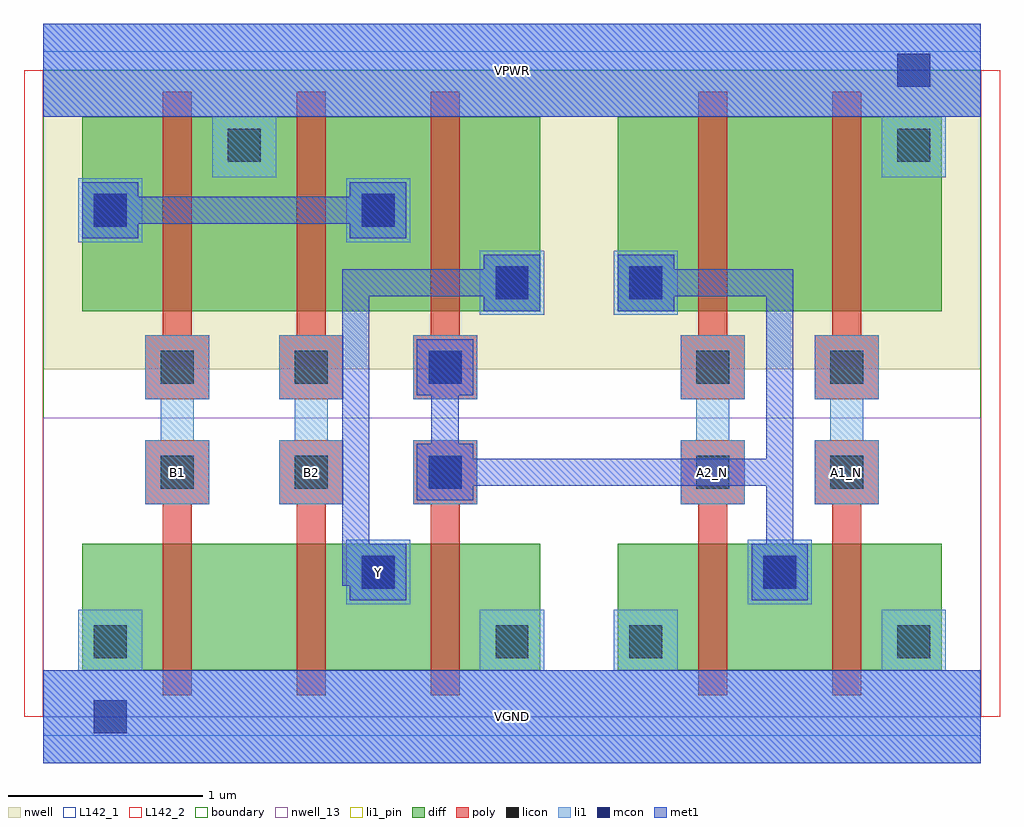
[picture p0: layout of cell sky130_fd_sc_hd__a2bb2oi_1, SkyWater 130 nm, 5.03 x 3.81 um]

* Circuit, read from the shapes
.subckt sky130_fd_sc_hd__a2bb2oi_1 A1_N A2_N B1 B2 VGND VPWR Y
XM1 n1 B1 VGND VSUBS sky130_fd_pr__nfet_01v8 w=0.65 l=0.15
XM2 Y B2 n1 VSUBS sky130_fd_pr__nfet_01v8 w=0.65 l=0.15
XM3 VGND n2 Y VSUBS sky130_fd_pr__nfet_01v8 w=0.65 l=0.15
XM4 n2 A2_N VGND VSUBS sky130_fd_pr__nfet_01v8 w=0.65 l=0.15
XM5 VGND A1_N n2 VSUBS sky130_fd_pr__nfet_01v8 w=0.65 l=0.15
XM6 VPWR B1 n3 n4 sky130_fd_pr__pfet_01v8 w=1 l=0.15
XM7 n3 B2 VPWR n4 sky130_fd_pr__pfet_01v8 w=1 l=0.15
XM8 Y n2 n3 n4 sky130_fd_pr__pfet_01v8 w=1 l=0.15
XM9 n5 A2_N n2 n4 sky130_fd_pr__pfet_01v8 w=1 l=0.15
XM10 VPWR A1_N n5 n4 sky130_fd_pr__pfet_01v8 w=1 l=0.15
.ends

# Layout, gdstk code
import gdstk
lib = gdstk.Library(unit=1e-6, precision=1e-09)
def R(c, l, rs):  # rectangles x0, y0, x1, y1
    for r in rs: c.add(gdstk.rectangle(r[:2], r[2:], *l))
def A(c, l, x, y, w, h, nx, ny, dx, dy):  # array of equal rectangles
    R(c, l, [(x+i*dx, y+j*dy, x+i*dx+w, y+j*dy+h) for i in range(nx) for j in range(ny)])
def P(c, l, *ps):  # polygons
    for p in ps: c.add(gdstk.Polygon(p, *l))
nwell_13 = (64, 13)
nwell = (64, 20)
diff = (65, 20)
poly = (66, 20)
licon = (66, 44)
li1_pin = (67, 16)
li1 = (67, 20)
mcon = (67, 44)
met1 = (68, 20)
L142_1 = (142, 1)
L142_2 = (142, 2)
boundary = (235, 4)

sky130_fd_sc_hd__a2bb2oi = lib.new_cell('sky130_fd_sc_hd__a2bb2oi_1')
R(sky130_fd_sc_hd__a2bb2oi, nwell_13, [(0,0,4.83,1.54)])
R(sky130_fd_sc_hd__a2bb2oi, nwell, [(0,1.79,4.83,3.33)])
R(sky130_fd_sc_hd__a2bb2oi, diff, [(0.2,0.24,2.56,0.89), (0.2,0.24,0.615,0.89), (0.615,0.24,1.305,0.89), (1.305,0.24,1.995,0.89), (1.995,0.24,2.56,0.89), (2.96,0.24,4.63,0.89), (2.96,0.24,3.375,0.89), (3.375,0.24,4.065,0.89), (4.065,0.24,4.63,0.89), (0.2,2.09,2.56,3.09), (0.2,2.09,0.615,3.09), (0.615,2.09,1.305,3.09), (1.305,2.09,1.995,3.09), (1.995,2.09,2.56,3.09), (2.96,2.09,4.63,3.09), (2.96,2.09,3.375,3.09), (3.375,2.09,4.065,3.09), (4.065,2.09,4.63,3.09)])
P(sky130_fd_sc_hd__a2bb2oi, poly, [(1.305,0.11),(1.305,1.095),(1.215,1.095),(1.215,1.425),(1.545,1.425),(1.545,1.095),(1.455,1.095),(1.455,0.11)],
  [(1.215,1.635),(1.215,1.965),(1.305,1.965),(1.305,3.22),(1.455,3.22),(1.455,1.965),(1.545,1.965),(1.545,1.635)],
  [(1.995,0.11),(1.995,1.095),(1.905,1.095),(1.905,1.425),(2.235,1.425),(2.235,1.095),(2.145,1.095),(2.145,0.11)],
  [(1.905,1.635),(1.905,1.965),(1.995,1.965),(1.995,3.22),(2.145,3.22),(2.145,1.965),(2.235,1.965),(2.235,1.635)],
  [(3.375,0.11),(3.375,1.095),(3.285,1.095),(3.285,1.425),(3.615,1.425),(3.615,1.095),(3.525,1.095),(3.525,0.11)],
  [(3.285,1.635),(3.285,1.965),(3.375,1.965),(3.375,3.22),(3.525,3.22),(3.525,1.965),(3.615,1.965),(3.615,1.635)],
  [(0.615,0.11),(0.615,1.095),(0.525,1.095),(0.525,1.425),(0.855,1.425),(0.855,1.095),(0.765,1.095),(0.765,0.11)],
  [(0.525,1.635),(0.525,1.965),(0.615,1.965),(0.615,3.22),(0.765,3.22),(0.765,1.965),(0.855,1.965),(0.855,1.635)],
  [(4.065,0.11),(4.065,1.095),(3.975,1.095),(3.975,1.425),(4.305,1.425),(4.305,1.095),(4.215,1.095),(4.215,0.11)],
  [(3.975,1.635),(3.975,1.965),(4.065,1.965),(4.065,3.22),(4.215,3.22),(4.215,1.965),(4.305,1.965),(4.305,1.635)])
A(sky130_fd_sc_hd__a2bb2oi, licon, 0.605, 1.175, 0.17, 0.17, 3, 2, 0.69, 0.54)
R(sky130_fd_sc_hd__a2bb2oi, licon, [(0.26,0.3,0.43,0.47), (2.33,0.3,2.5,0.47), (3.02,0.3,3.19,0.47), (4.4,0.3,4.57,0.47), (1.64,0.66,1.81,0.83), (3.71,0.66,3.88,0.83), (3.365,1.175,3.535,1.345), (4.055,1.175,4.225,1.345), (3.365,1.715,3.535,1.885), (4.055,1.715,4.225,1.885), (2.33,2.15,2.5,2.32), (3.02,2.15,3.19,2.32), (0.26,2.525,0.43,2.695), (1.64,2.525,1.81,2.695), (0.95,2.86,1.12,3.03), (4.4,2.86,4.57,3.03)])
R(sky130_fd_sc_hd__a2bb2oi, li1_pin, [(0,-0.24,4.83,0.24), (1.56,0.58,1.89,0.91), (0,3.09,4.83,3.57)])
P(sky130_fd_sc_hd__a2bb2oi, li1_pin, [(0.525,1.095),(0.525,1.425),(0.605,1.425),(0.605,1.635),(0.525,1.635),(0.525,1.965),(0.855,1.965),(0.855,1.635),(0.775,1.635),(0.775,1.425),(0.855,1.425),(0.855,1.095)],
  [(1.215,1.095),(1.215,1.425),(1.295,1.425),(1.295,1.635),(1.215,1.635),(1.215,1.965),(1.545,1.965),(1.545,1.635),(1.465,1.635),(1.465,1.425),(1.545,1.425),(1.545,1.095)],
  [(3.975,1.095),(3.975,1.425),(4.055,1.425),(4.055,1.635),(3.975,1.635),(3.975,1.965),(4.305,1.965),(4.305,1.635),(4.225,1.635),(4.225,1.425),(4.305,1.425),(4.305,1.095)],
  [(3.285,1.095),(3.285,1.425),(3.365,1.425),(3.365,1.635),(3.285,1.635),(3.285,1.965),(3.615,1.965),(3.615,1.635),(3.535,1.635),(3.535,1.425),(3.615,1.425),(3.615,1.095)])
R(sky130_fd_sc_hd__a2bb2oi, li1, [(1.56,0.58,1.89,0.91), (3.63,0.58,3.96,0.91), (1.905,1.095,2.235,1.425), (1.905,1.635,2.235,1.965), (2.25,2.07,2.58,2.4), (2.94,2.07,3.27,2.4), (0.18,2.445,0.51,2.775), (1.56,2.445,1.89,2.775)])
P(sky130_fd_sc_hd__a2bb2oi, li1, [(1.215,1.095),(1.215,1.425),(1.295,1.425),(1.295,1.635),(1.215,1.635),(1.215,1.965),(1.545,1.965),(1.545,1.635),(1.465,1.635),(1.465,1.425),(1.545,1.425),(1.545,1.095)],
  [(0.87,2.78),(0.87,3.09),(0,3.09),(0,3.57),(4.83,3.57),(4.83,3.09),(4.65,3.09),(4.65,2.78),(4.32,2.78),(4.32,3.09),(1.2,3.09),(1.2,2.78)],
  [(0,-0.24),(0,0.24),(0.18,0.24),(0.18,0.55),(0.51,0.55),(0.51,0.24),(2.25,0.24),(2.25,0.55),(2.58,0.55),(2.58,0.24),(2.94,0.24),(2.94,0.55),(3.27,0.55),(3.27,0.24),(4.32,0.24),(4.32,0.55),(4.65,0.55),(4.65,0.24),(4.83,0.24),(4.83,-0.24)],
  [(3.285,1.095),(3.285,1.425),(3.365,1.425),(3.365,1.635),(3.285,1.635),(3.285,1.965),(3.615,1.965),(3.615,1.635),(3.535,1.635),(3.535,1.425),(3.615,1.425),(3.615,1.095)],
  [(0.525,1.095),(0.525,1.425),(0.605,1.425),(0.605,1.635),(0.525,1.635),(0.525,1.965),(0.855,1.965),(0.855,1.635),(0.775,1.635),(0.775,1.425),(0.855,1.425),(0.855,1.095)],
  [(3.975,1.095),(3.975,1.425),(4.055,1.425),(4.055,1.635),(3.975,1.635),(3.975,1.965),(4.305,1.965),(4.305,1.635),(4.225,1.635),(4.225,1.425),(4.305,1.425),(4.305,1.095)])
R(sky130_fd_sc_hd__a2bb2oi, mcon, [(0.26,-0.085,0.43,0.085), (1.64,0.66,1.81,0.83), (3.71,0.66,3.88,0.83), (1.985,1.175,2.155,1.345), (1.985,1.715,2.155,1.885), (2.33,2.15,2.5,2.32), (3.02,2.15,3.19,2.32), (0.26,2.525,0.43,2.695), (1.64,2.525,1.81,2.695), (4.4,3.245,4.57,3.415)])
R(sky130_fd_sc_hd__a2bb2oi, met1, [(0,-0.24,4.83,0.24), (0,3.09,4.83,3.57)])
P(sky130_fd_sc_hd__a2bb2oi, met1, [(0.2,2.465),(0.2,2.755),(0.49,2.755),(0.49,2.68),(1.58,2.68),(1.58,2.755),(1.87,2.755),(1.87,2.465),(1.58,2.465),(1.58,2.54),(0.49,2.54),(0.49,2.465)],
  [(1.58,0.6),(1.58,0.675),(1.54,0.675),(1.54,2.305),(2.27,2.305),(2.27,2.38),(2.56,2.38),(2.56,2.09),(2.27,2.09),(2.27,2.165),(1.68,2.165),(1.68,0.89),(1.87,0.89),(1.87,0.6)],
  [(3.65,0.6),(3.65,0.89),(3.725,0.89),(3.725,1.19),(2.215,1.19),(2.215,1.115),(1.925,1.115),(1.925,1.405),(2,1.405),(2,1.655),(1.925,1.655),(1.925,1.945),(2.215,1.945),(2.215,1.655),(2.14,1.655),(2.14,1.405),(2.215,1.405),(2.215,1.33),(3.725,1.33),(3.725,2.165),(3.25,2.165),(3.25,2.09),(2.96,2.09),(2.96,2.38),(3.25,2.38),(3.25,2.305),(3.865,2.305),(3.865,0.89),(3.94,0.89),(3.94,0.6)])
R(sky130_fd_sc_hd__a2bb2oi, L142_1, [(0,-0.1,4.83,0), (0,3.33,4.83,3.43)])
R(sky130_fd_sc_hd__a2bb2oi, L142_2, [(-0.1,0,0,3.33), (4.83,0,4.93,3.33)])
R(sky130_fd_sc_hd__a2bb2oi, boundary, [(0,0,4.83,3.33)])
sky130_fd_sc_hd__a2bb2oi.add(gdstk.Label('Y', (1.725,0.745), layer=67, texttype=5))
sky130_fd_sc_hd__a2bb2oi.add(gdstk.Label('B1', (0.69,1.26), layer=67, texttype=5))
sky130_fd_sc_hd__a2bb2oi.add(gdstk.Label('B2', (1.38,1.26), layer=67, texttype=5))
sky130_fd_sc_hd__a2bb2oi.add(gdstk.Label('A1_N', (4.14,1.26), layer=67, texttype=5))
sky130_fd_sc_hd__a2bb2oi.add(gdstk.Label('A2_N', (3.45,1.26), layer=67, texttype=5))
sky130_fd_sc_hd__a2bb2oi.add(gdstk.Label('VGND', (2.415,0), layer=67, texttype=5))
sky130_fd_sc_hd__a2bb2oi.add(gdstk.Label('VPWR', (2.415,3.33), layer=67, texttype=5))
sky130_fd_sc_hd__a2bb2oi.add(gdstk.Label('VGND', (2.415,0), layer=68, texttype=5))
sky130_fd_sc_hd__a2bb2oi.add(gdstk.Label('VPWR', (2.415,3.33), layer=68, texttype=5))

lib.write_gds('sky130_fd_sc_hd__a2bb2oi_1.gds')
